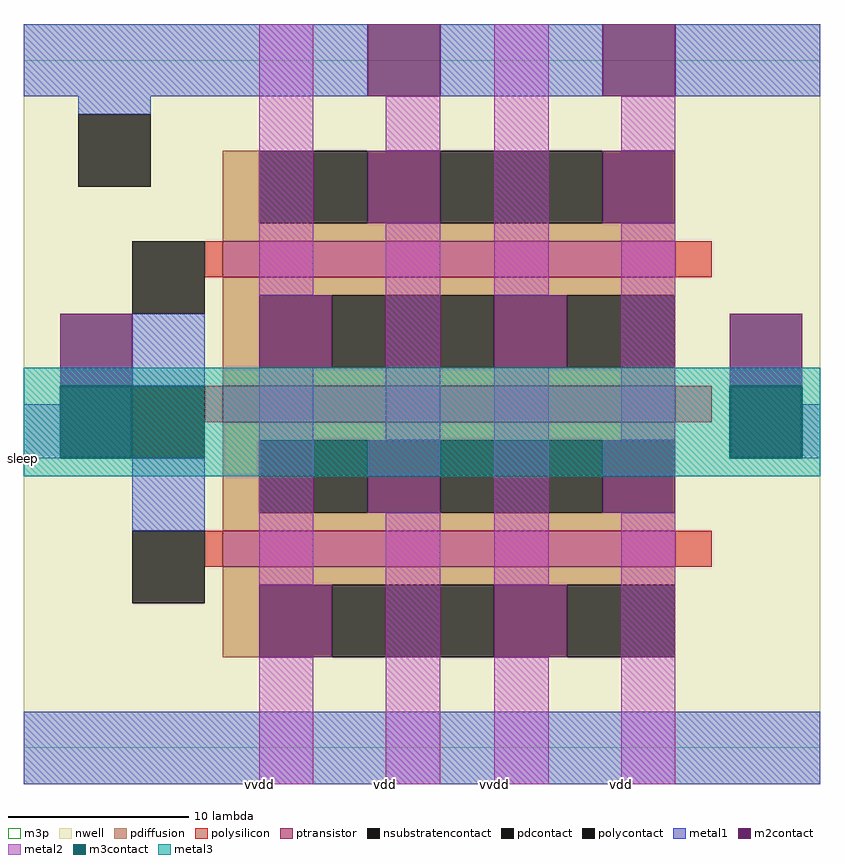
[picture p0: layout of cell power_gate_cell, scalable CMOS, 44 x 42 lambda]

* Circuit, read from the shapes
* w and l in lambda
.subckt power_gate_cell sleep vdd vvdd
M1 vdd sleep vvdd vdd pfet w=25 l=2 m=3
.ends

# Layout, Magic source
magic
tech scmos
<< nwell >>
rect 0 -2 44 40
<< ptransistor >>
rect 11 26 36 28
rect 11 18 36 20
rect 11 10 36 12
<< pdiffusion >>
rect 11 29 13 33
rect 19 29 23 33
rect 32 29 36 33
rect 11 28 36 29
rect 11 25 36 26
rect 11 21 17 25
rect 26 21 30 25
rect 11 20 36 21
rect 11 17 36 18
rect 11 13 13 17
rect 19 13 23 17
rect 32 13 36 17
rect 11 12 36 13
rect 11 9 36 10
rect 11 5 17 9
rect 26 5 30 9
<< pdcontact >>
rect 13 29 19 33
rect 23 29 32 33
rect 17 21 26 25
rect 30 21 36 25
rect 13 13 19 17
rect 23 13 32 17
rect 17 5 26 9
rect 30 5 36 9
<< nsubstratencontact >>
rect 3 31 7 35
<< polysilicon >>
rect 10 26 11 28
rect 36 26 38 28
rect 10 18 11 20
rect 36 18 38 20
rect 10 10 11 12
rect 36 10 38 12
<< polycontact >>
rect 6 24 10 28
rect 6 16 10 20
rect 6 8 10 12
<< metal1 >>
rect 0 36 19 40
rect 23 36 32 40
rect 36 36 44 40
rect 3 35 7 36
rect 6 20 10 24
rect 2 19 6 20
rect 0 16 6 19
rect 39 19 43 20
rect 6 12 10 16
rect 39 16 44 19
rect 0 -2 44 2
<< m2contact >>
rect 19 36 23 40
rect 32 36 36 40
rect 19 29 23 33
rect 32 29 36 33
rect 2 20 6 24
rect 13 21 17 25
rect 26 21 30 25
rect 39 20 43 24
rect 19 13 23 17
rect 32 13 36 17
rect 13 5 17 9
rect 26 5 30 9
<< metal2 >>
rect 13 25 16 40
rect 20 33 23 36
rect 13 9 16 21
rect 20 17 23 29
rect 13 -2 16 5
rect 20 -2 23 13
rect 26 25 29 40
rect 33 33 36 36
rect 26 9 29 21
rect 33 17 36 29
rect 26 -2 29 5
rect 33 -2 36 13
<< m3contact >>
rect 2 16 6 20
rect 39 16 43 20
<< metal3 >>
rect 0 20 44 21
rect 0 16 2 20
rect 6 16 39 20
rect 43 16 44 20
rect 0 15 44 16
<< m3p >>
rect 0 0 44 38
<< labels >>
rlabel metal1 0 16 0 16 3 sleep
rlabel metal2 13 -2 13 -2 1 vvdd
rlabel metal2 20 -2 20 -2 1 vdd
rlabel metal2 26 -2 26 -2 1 vvdd
rlabel metal2 33 -2 33 -2 1 vdd
<< end >>
